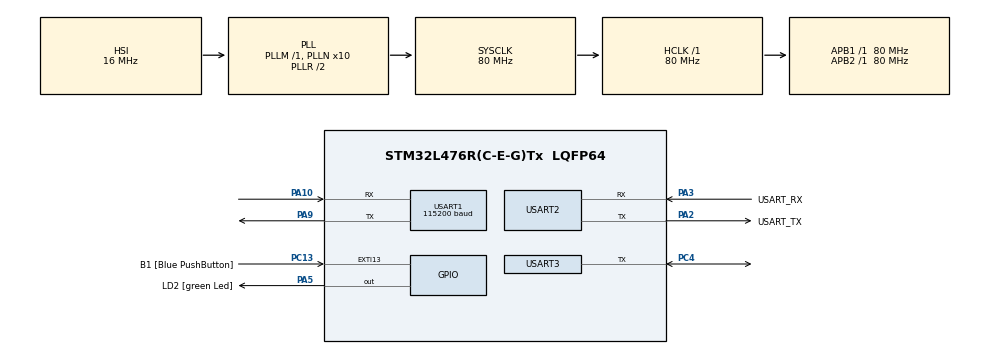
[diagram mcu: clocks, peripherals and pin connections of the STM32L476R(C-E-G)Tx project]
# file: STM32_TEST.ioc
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Mcu.Family=STM32L4
Mcu.Name=STM32L476R(C-E-G)Tx
Mcu.Package=LQFP64
NVIC.PriorityGroup=NVIC_PRIORITYGROUP_4
NVIC.USART1_IRQn=true\:0\:0\:false\:false\:true\:true\:true\:true
NVIC.USART2_IRQn=true\:0\:0\:false\:false\:true\:true\:true\:true
NVIC.USART3_IRQn=true\:0\:0\:false\:false\:true\:true\:true\:true
PA10.Mode=Asynchronous
PA10.Signal=USART1_RX
PA13\ (JTMS-SWDIO).GPIO_Label=TMS
PA13\ (JTMS-SWDIO).Mode=Trace_Asynchronous_SW
PA13\ (JTMS-SWDIO).Signal=SYS_JTMS-SWDIO
PA14\ (JTCK-SWCLK).GPIO_Label=TCK
PA14\ (JTCK-SWCLK).Mode=Trace_Asynchronous_SW
PA14\ (JTCK-SWCLK).Signal=SYS_JTCK-SWCLK
PA2.GPIO_Label=USART_TX
PA2.GPIO_Mode=GPIO_MODE_AF_PP
PA2.GPIO_PuPd=GPIO_NOPULL
PA2.GPIO_Speed=GPIO_SPEED_FREQ_VERY_HIGH
PA2.Mode=Asynchronous
PA2.Signal=USART2_TX
PA3.GPIO_Label=USART_RX
PA3.GPIO_Mode=GPIO_MODE_AF_PP
PA3.GPIO_PuPd=GPIO_NOPULL
PA3.GPIO_Speed=GPIO_SPEED_FREQ_VERY_HIGH
PA3.Mode=Asynchronous
PA3.Signal=USART2_RX
PA5.GPIO_Label=LD2 [green Led]
PA5.GPIO_ModeDefaultOutputPP=GPIO_MODE_OUTPUT_PP
PA5.GPIO_PuPd=GPIO_NOPULL
PA5.GPIO_Speed=GPIO_SPEED_FREQ_LOW
PA5.Signal=GPIO_Output
PA9.Mode=Asynchronous
PA9.Signal=USART1_TX
PB3\ (JTDO-TRACESWO).GPIO_Label=SWO
PB3\ (JTDO-TRACESWO).Mode=Trace_Asynchronous_SW
PB3\ (JTDO-TRACESWO).Signal=SYS_JTDO-SWO
PC13.GPIO_Label=B1 [Blue PushButton]
PC13.GPIO_ModeDefaultEXTI=GPIO_MODE_IT_FALLING
PC13.GPIO_PuPd=GPIO_NOPULL
PC13.Signal=GPXTI13
PC14-OSC32_IN\ (PC14).Mode=LSE-External-Oscillator
PC14-OSC32_IN\ (PC14).Signal=RCC_OSC32_IN
PC15-OSC32_OUT\ (PC15).Mode=LSE-External-Oscillator
PC15-OSC32_OUT\ (PC15).Signal=RCC_OSC32_OUT
PC4.Mode=Half_duplex(single_wire_mode)
PC4.Signal=USART3_TX
PH0-OSC_IN\ (PH0).Signal=RCC_OSC_IN
PH1-OSC_OUT\ (PH1).Signal=RCC_OSC_OUT
ProjectManager.HeapSize=0x200
ProjectManager.StackSize=0x400
ProjectManager.TargetToolchain=CMake
RCC.ADCFreq_Value=64000000
RCC.AHBFreq_Value=80000000
RCC.APB1Freq_Value=80000000
RCC.APB1TimFreq_Value=80000000
RCC.APB2Freq_Value=80000000
RCC.APB2TimFreq_Value=80000000
RCC.CortexFreq_Value=80000000
RCC.HCLKFreq_Value=80000000
RCC.HSE_VALUE=8000000
RCC.HSI_VALUE=16000000
RCC.MSI_VALUE=4000000
RCC.PLLN=10
RCC.PLLSourceVirtual=RCC_PLLSOURCE_HSI
RCC.PREFETCH_ENABLE=1
RCC.SYSCLKFreq_VALUE=80000000
RCC.SYSCLKSource=RCC_SYSCLKSOURCE_PLLCLK
RCC.USBFreq_Value=64000000
RCC.VCOOutputFreq_Value=160000000
USART1.BaudRate=115200
USART1.Parity=PARITY_EVEN
USART1.VirtualMode-Asynchronous=VM_ASYNC
USART1.WordLength=WORDLENGTH_8B
USART2.VirtualMode-Asynchronous=VM_ASYNC
USART3.BaudRate=115200
USART3.SwapParam=ADVFEATURE_SWAP_DISABLE
USART3.VirtualMode-Half_duplex(single_wire_mode)=VM_ASYNC
board=NUCLEO-L476RG

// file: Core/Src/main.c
/* USER CODE BEGIN Header */
/**
  ******************************************************************************
  * @file           : main.c
  * @brief          : Main program body
  ******************************************************************************
  * @attention
  *
  * Copyright (c) 2025 STMicroelectronics.
  * All rights reserved.
  *
  * This software is licensed under terms that can be found in the LICENSE file
  * in the root directory of this software component.
  * If no LICENSE file comes with this software, it is provided AS-IS.
  *
  ******************************************************************************
  */
/* USER CODE END Header */
#include "main.h"
#include "stm32l4xx_hal.h"
#include "usart.h"
#include "gpio.h"

/* USER CODE BEGIN Includes */
#include "STS.h"
#include "WT901B.h"
#include "tools.h"
#include <stdint.h>
#include <string.h>
#include <stdio.h>
/* USER CODE END Includes */

void SystemClock_Config(void);

/* USER CODE BEGIN 0 */
int _write(int file, char *ptr, int len) {
	int DataIdx;
	for (DataIdx = 0; DataIdx < len; DataIdx++) {
		ITM_SendChar(*ptr++);
	}
	return len;
}

uint8_t compute_checksum(uint8_t *data, uint8_t length) {
  uint8_t sum = 0;
  for (uint8_t i = 0; i < length; i++) {
    sum += data[i];
  }
  return ~sum;
}

typedef enum AeroBrakeState_t {
  AERO_BRAKE_STATE_WAIT,
  AERO_BRAKE_STATE_START,
  AERO_BRAKE_STATE_CALIBRATION_0_START,
  AERO_BRAKE_STATE_CALIBRATION_0_WAIT_0,
  AERO_BRAKE_STATE_CALIBRATION_0_WAIT_1,
  AERO_BRAKE_STATE_CALIBRATION_1_START,
  AERO_BRAKE_STATE_CALIBRATION_1_WAIT_0,
  AERO_BRAKE_STATE_CALIBRATION_1_WAIT_1,
  AERO_BRAKE_STATE_RETRACT_START,
  AERO_BRAKE_STATE_RETRACT_WAIT,
  AERO_BRAKE_STATE_DEPLOY_START,
  AERO_BRAKE_STATE_DEPLOY_WAIT,
} AeroBrakeState_t;

/* USER CODE END 0 */

int main(void)
{

  /* MCU Configuration--------------------------------------------------------*/

  /* Reset of all peripherals, Initializes the Flash interface and the Systick. */
  HAL_Init();

  /* Configure the system clock */
  SystemClock_Config();

  /* Initialize all configured peripherals */
  MX_GPIO_Init();
  MX_USART2_UART_Init();
  MX_USART1_UART_Init();
  MX_USART3_UART_Init();
  /* USER CODE BEGIN 2 */

  HAL_StatusTypeDef res;

  // WT901B_status_t wt_res = WT901B_Init(&wt901b, &huart1);

  res = STS_UART_Port_Init(&huart_sts_port1, &huart1);
  if (res != HAL_OK) {
      // Initialization failed
      Error_Handler();
  }

  STS_Servo_t servo1;
  res = STS_Servo_Init(&servo1, &huart_sts_port1, 3);
  if (res != HAL_OK) {
      // Initialization failed
      Error_Handler();
  }

  STS_Servo_Current_raw_t current_raw_status;
  STS_Servo_Current_t current_status;
  uint8_t is_moving = 0;
  bool in_overload = 0;

  uint8_t usb_buff[768];
  char position_str[10];
  char speed_str[10];
  char load_str[10];
  char voltage_str[10];
  char temperature_str[10];
  char current_str[10];

  AeroBrakeState_t current_state = AERO_BRAKE_STATE_START;
  AeroBrakeState_t next_state = AERO_BRAKE_STATE_START;
  uint32_t t0;
  uint32_t t1 = HAL_GetTick();

  // HAL_Delay(1);
  // res = STS_Servo_SetOperatingMode(&servo1, STS_OP_MODE_SPEED_CONTROL);
  // HAL_Delay(1);
  // res = STS_Servo_SetGoalSpeed(&servo1, STS_Servo_GetSpeedInUnits(-200));
  // // STS_Servo_SetGoalPosition(&servo1, 0);
  // HAL_Delay(10);

  /* USER CODE END 2 */

  /* Infinite loop */
  /* USER CODE BEGIN WHILE */
	while (1) {

    // Get current status
    res = STS_Servo_GetCurrentStatus(&servo1, &current_raw_status);
    HAL_Delay(1);
    res = STS_Servo_IsMoving(&servo1, &is_moving);
    HAL_Delay(1);
    res = STS_Servo_InOverload(&servo1, &in_overload);
    HAL_Delay(1);

    STS_Servo_raw_to_physical(&current_raw_status, &current_status);

    // Print status over USB UART
    if ((HAL_GetTick() - t1 >= 10) && current_state != AERO_BRAKE_STATE_WAIT && current_state != AERO_BRAKE_STATE_START) {
      float_format(position_str   , current_status.position   , 4, 10);
      float_format(speed_str      , current_status.speed      , 4, 10);
      float_format(load_str       , current_status.load       , 4, 10);
      float_format(voltage_str    , current_status.voltage    , 2,  6);
      float_format(temperature_str, current_status.temperature, 2,  6);
      float_format(current_str    , current_status.current    , 2,  6);

      sprintf((char*)usb_buff, "Move: %1d, Overload: %1d, Pos: %10s deg, Speed: %10s RPM, Load: %10s, Volt: %6s V, Temp: %6s C, Curr: %6s mA\r\n",
              is_moving, in_overload, position_str, speed_str, load_str, voltage_str, temperature_str, current_str);
      HAL_UART_Transmit(&huart2, usb_buff, strlen((char*)usb_buff), HAL_MAX_DELAY);

      t1 = HAL_GetTick();
    }

    // State machine
    switch (current_state) {

    case AERO_BRAKE_STATE_WAIT: {
      // Toggle LED to indicate waiting
      if (HAL_GetTick() - t0 > 500) {
        HAL_GPIO_TogglePin(LD2_GPIO_Port, LD2_Pin);
        t0 = HAL_GetTick();
      }
      // Waiting for button press to proceed
      if (HAL_GPIO_ReadPin(B1_GPIO_Port, B1_Pin) == GPIO_PIN_RESET) {
        HAL_GPIO_WritePin(LD2_GPIO_Port, LD2_Pin, GPIO_PIN_SET); // Turn on LED
        current_state = next_state;
      }
      break; }

    case AERO_BRAKE_STATE_START: {
      // Print start message
      sprintf((char*)usb_buff, "================ Aero-brake test code started! ================\r\n" \
              "The test is made of several steps:\r\n" \
              "1. Calibration of the servo at 0 degrees\r\n" \
              "2. Calibration of the servo at the maximum angle\r\n" \
              "3. Retraction of the aero-brake\r\n" \
              "4. Deployment of the aero-brake\r\n" \
              "After step 4, the test go back to step 3 until the board is reset.\r\n" \
              "The led LD2 blinks while waiting for user input to start each step and stay on when proceed.\r\n" \
              "While running, the servo status is printed over USB UART.\r\n" \
              "Press the user button to start the test...\r\n");
      HAL_UART_Transmit(&huart2, usb_buff, strlen((char*)usb_buff), HAL_MAX_DELAY);
      next_state = AERO_BRAKE_STATE_CALIBRATION_0_START;
      current_state = AERO_BRAKE_STATE_WAIT;
      break; }

    case AERO_BRAKE_STATE_CALIBRATION_0_START: {
      // Start calibration at 0 degrees
      res = STS_Servo_SetOperatingMode(&servo1, STS_OP_MODE_SPEED_CONTROL);
      HAL_Delay(1);
      res = STS_Servo_SetGoalSpeed(&servo1, STS_Servo_GetSpeedInUnits(-200));
      HAL_Delay(1);
      t0 = HAL_GetTick();
      current_state = AERO_BRAKE_STATE_CALIBRATION_0_WAIT_0;
      break; }
    case AERO_BRAKE_STATE_CALIBRATION_0_WAIT_0: {
      // Wait until servo stops moving and overload is detected
      if ((HAL_GetTick() - t0 >= 100) && !is_moving && in_overload) {
        res = STS_Servo_SetGoalSpeed(&servo1, 200);
        HAL_Delay(1);
        current_state = AERO_BRAKE_STATE_CALIBRATION_0_WAIT_1;
      }
      break; }
    case AERO_BRAKE_STATE_CALIBRATION_0_WAIT_1: {
      // Wait until servo is not in overload anymore
      if (!in_overload) {
        res = STS_Servo_SetGoalSpeed(&servo1, 0);
        HAL_Delay(1);
        res = STS_Servo_PositionCalibration(&servo1, 0);
        HAL_Delay(1);
        sprintf((char*)usb_buff, "Calibration at 0 degrees done.\r\nPress the user button to proceed to next step...\r\n");
        HAL_UART_Transmit(&huart2, usb_buff, strlen((char*)usb_buff), HAL_MAX_DELAY);
        next_state = AERO_BRAKE_STATE_CALIBRATION_1_START;
        current_state = AERO_BRAKE_STATE_WAIT;
      }
      break; }

    case AERO_BRAKE_STATE_CALIBRATION_1_START: {
      // Start calibration at maximum angle
      res = STS_Servo_SetOperatingMode(&servo1, STS_OP_MODE_SPEED_CONTROL);
      HAL_Delay(1);
      res = STS_Servo_SetGoalSpeed(&servo1, STS_Servo_GetSpeedInUnits(200));
      HAL_Delay(1);
      t0 = HAL_GetTick();
      current_state = AERO_BRAKE_STATE_CALIBRATION_1_WAIT_0;
      break; }
    case AERO_BRAKE_STATE_CALIBRATION_1_WAIT_0: {
      // Wait until servo stops moving and overload is detected
      if ((HAL_GetTick() - t0 >= 100) && !is_moving && in_overload) {
        res = STS_Servo_SetGoalSpeed(&servo1, -200);
        HAL_Delay(1);
        current_state = AERO_BRAKE_STATE_CALIBRATION_1_WAIT_1;
      }
      break; }
    case AERO_BRAKE_STATE_CALIBRATION_1_WAIT_1: {
      // Wait until servo is not in overload anymore
      if (!in_overload) {
        res = STS_Servo_SetGoalSpeed(&servo1, 0);
        HAL_Delay(1);
        res = STS_Servo_SetOperatingMode(&servo1, STS_OP_MODE_POSITION_CONTROL);
        HAL_Delay(1);
        float_format(position_str, current_status.position, 4, 10);
        sprintf((char*)usb_buff, "Calibration at maximum angle done. Measured max angle: %10s degrees.\r\nPress the user button to proceed to next step...\r\n",
                position_str);
        HAL_UART_Transmit(&huart2, usb_buff, strlen((char*)usb_buff), HAL_MAX_DELAY);
        next_state = AERO_BRAKE_STATE_RETRACT_START;
        current_state = AERO_BRAKE_STATE_WAIT;
      }
      break; }

    case AERO_BRAKE_STATE_RETRACT_START: {
      // Retract aero-brake
      res = STS_Servo_SetGoalPosition(&servo1, 0);
      HAL_Delay(1);
      t0 = HAL_GetTick();
      current_state = AERO_BRAKE_STATE_RETRACT_WAIT;
      break; }
    case AERO_BRAKE_STATE_RETRACT_WAIT: {
      // Wait until retraction is done
      if ((HAL_GetTick() - t0 >= 100) && !is_moving) {
        sprintf((char*)usb_buff, "Aero-brake retracted.\r\nPress the user button to deploy the aero-brake...\r\n");
        HAL_UART_Transmit(&huart2, usb_buff, strlen((char*)usb_buff), HAL_MAX_DELAY);
        next_state = AERO_BRAKE_STATE_DEPLOY_START;
        current_state = AERO_BRAKE_STATE_WAIT;
      }
      break; }

    case AERO_BRAKE_STATE_DEPLOY_START: {
      // Deploy aero-brake
      res = STS_Servo_SetGoalPosition(&servo1, STS_Servo_GetPositionInUnits(120));
      HAL_Delay(1);
      t0 = HAL_GetTick();
      current_state = AERO_BRAKE_STATE_DEPLOY_WAIT;
      break; }
    case AERO_BRAKE_STATE_DEPLOY_WAIT: {
      // Wait until deployment is done
      if ((HAL_GetTick() - t0 >= 100) && !is_moving) {
        sprintf((char*)usb_buff, "Aero-brake deployed.\r\nPress the user button to retract the aero-brake...\r\n");
        HAL_UART_Transmit(&huart2, usb_buff, strlen((char*)usb_buff), HAL_MAX_DELAY);
        next_state = AERO_BRAKE_STATE_RETRACT_START;
        current_state = AERO_BRAKE_STATE_WAIT;
      }
      break; }
    }

    // HAL_Delay(1);
    // if (in_overload) {
    //   res = STS_Servo_SetGoalSpeed(&servo1, 0);
    //   HAL_Delay(1);
    //   res = STS_Servo_SetOperatingMode(&servo1, STS_OP_MODE_POSITION_CONTROL);
    //   HAL_Delay(1);
    //   res = STS_Servo_PositionCalibration(&servo1, 0);
    //   HAL_Delay(1);
    //   STS_Servo_SetGoalPosition(&servo1, 0);
    //   HAL_Delay(1);
    //   STS_Servo_SetGoalPosition(&servo1, STS_Servo_GetPositionInUnits(120));
    // }
    // HAL_Delay(10);

    /* USER CODE END WHILE */

	}
}

void SystemClock_Config(void)
{
  RCC_OscInitTypeDef RCC_OscInitStruct = {0};
  RCC_ClkInitTypeDef RCC_ClkInitStruct = {0};

  /** Configure the main internal regulator output voltage
  */
  if (HAL_PWREx_ControlVoltageScaling(PWR_REGULATOR_VOLTAGE_SCALE1) != HAL_OK)
  {
    Error_Handler();
  }

  /** Initializes the RCC Oscillators according to the specified parameters
  * in the RCC_OscInitTypeDef structure.
  */
  RCC_OscInitStruct.OscillatorType = RCC_OSCILLATORTYPE_HSI;
  RCC_OscInitStruct.HSIState = RCC_HSI_ON;
  RCC_OscInitStruct.HSICalibrationValue = RCC_HSICALIBRATION_DEFAULT;
  RCC_OscInitStruct.PLL.PLLState = RCC_PLL_ON;
  RCC_OscInitStruct.PLL.PLLSource = RCC_PLLSOURCE_HSI;
  RCC_OscInitStruct.PLL.PLLM = 1;
  RCC_OscInitStruct.PLL.PLLN = 10;
  RCC_OscInitStruct.PLL.PLLP = RCC_PLLP_DIV7;
  RCC_OscInitStruct.PLL.PLLQ = RCC_PLLQ_DIV2;
  RCC_OscInitStruct.PLL.PLLR = RCC_PLLR_DIV2;
  if (HAL_RCC_OscConfig(&RCC_OscInitStruct) != HAL_OK)
  {
    Error_Handler();
  }

  /** Initializes the CPU, AHB and APB buses clocks
  */
  RCC_ClkInitStruct.ClockType = RCC_CLOCKTYPE_HCLK|RCC_CLOCKTYPE_SYSCLK
                              |RCC_CLOCKTYPE_PCLK1|RCC_CLOCKTYPE_PCLK2;
  RCC_ClkInitStruct.SYSCLKSource = RCC_SYSCLKSOURCE_PLLCLK;
  RCC_ClkInitStruct.AHBCLKDivider = RCC_SYSCLK_DIV1;
  RCC_ClkInitStruct.APB1CLKDivider = RCC_HCLK_DIV1;
  RCC_ClkInitStruct.APB2CLKDivider = RCC_HCLK_DIV1;

  if (HAL_RCC_ClockConfig(&RCC_ClkInitStruct, FLASH_LATENCY_4) != HAL_OK)
  {
    Error_Handler();
  }
}

void Error_Handler(void)
{
  __disable_irq();
  while (1)
  {
  }
}
